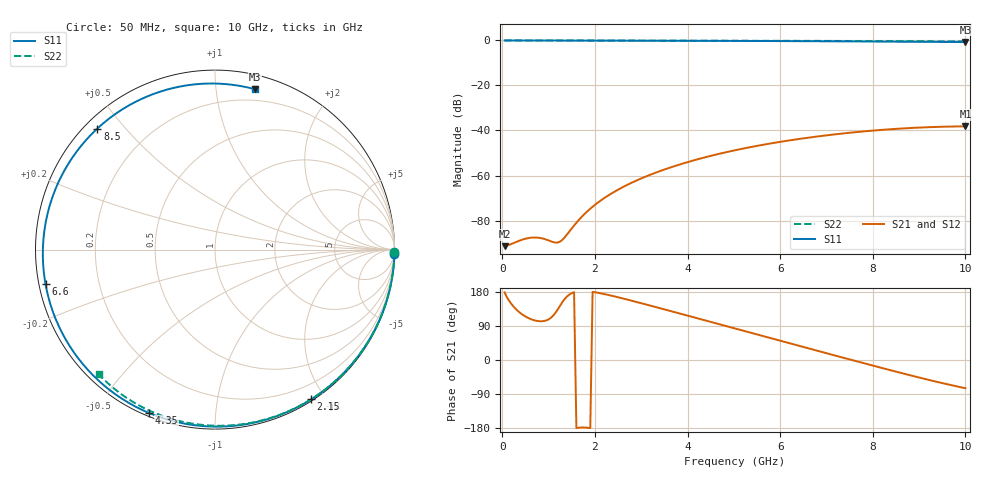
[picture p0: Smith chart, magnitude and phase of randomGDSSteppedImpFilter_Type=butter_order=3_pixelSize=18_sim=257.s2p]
! freq	dB(S11)	phase(S11)	dB(S12)	phase(S12)
!  dB(S21)	phase(S21)	dB(S22)	phase(S22)
!S-par simulation data
#  GHz  S  DB  R 50
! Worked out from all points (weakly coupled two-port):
!   200 points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, 50 MHz to 10 GHz, reference 50 ohm
!   highest |S21| = -38.14 dB at 10 GHz (marker M1); lowest = -91.4 dB at 50 MHz (marker M2)
!   lowest |S11| = -0.7 dB at 10 GHz (marker M3), VSWR 24.27, Z = 5.41 + j63.6 ohm
!   |S11| at or under -10 dB: nowhere
!   |S22| runs from -0.4 to 0.0 dB; largest |S21 - S12| = 0
!   S11 on the Smith chart (normalised r, x): 50 MHz: 0, -84; 2.15 GHz: 0.02, -1.83; 4.35 GHz: 0.01, -0.67; 6.6 GHz: 0.02, -0.10; 8.5 GHz: 0.04, +0.42; 10 GHz: 0.11, +1.27
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0.05  -0.00 -1.4  -91.40 178.5  -91.40 178.5  -0.00 -0.8
0.8  -0.02 -21.7  -87.69 102.4  -87.69 102.4  -0.01 -12.2
1.6  -0.05 -43.0  -80.97 -179.5  -80.97 -179.5  -0.03 -24.3
1.65  -0.06 -44.3  -79.80 -178.6  -79.80 -178.6  -0.03 -25.1
1.75  -0.06 -46.9  -77.62 -178.0  -77.62 -178.0  -0.03 -26.5
2.15  -0.07 -57.3  -70.75 175.4  -70.75 175.4  -0.04 -32.5
2.7  -0.09 -71.3  -64.14 159.4  -64.14 159.4  -0.05 -40.5
3.4  -0.12 -88.8  -58.07 136.9  -58.07 136.9  -0.07 -50.5
4.35  -0.16 -112.0  -52.07 105.5  -52.07 105.5  -0.09 -63.7
5.05  -0.20 -129.1  -48.67 82.2  -48.67 82.2  -0.11 -73.1
5.85  -0.26 -148.9  -45.56 55.7  -45.56 55.7  -0.14 -83.5
6.6  -0.32 -168.4  -43.21 31.0  -43.21 31.0  -0.18 -92.9
6.7  -0.33 -171.1  -42.94 27.7  -42.94 27.7  -0.18 -94.1
7.15  -0.38 176.4  -41.79 12.9  -41.79 12.9  -0.21 -99.6
7.55  -0.42 164.8  -40.90 -0.1  -40.90 -0.1  -0.23 -104.5
7.95  -0.47 152.4  -40.13 -13.1  -40.13 -13.1  -0.26 -109.2
8.35  -0.51 139.3  -39.49 -25.9  -39.49 -25.9  -0.29 -113.9
8.5  -0.53 134.2  -39.28 -30.7  -39.28 -30.7  -0.30 -115.7
8.9  -0.58 119.9  -38.80 -43.2  -38.80 -43.2  -0.34 -120.3
9.3  -0.63 104.7  -38.46 -55.2  -38.46 -55.2  -0.37 -125.0
9.65  -0.67 90.7  -38.26 -65.2  -38.26 -65.2  -0.41 -129.0
10  -0.72 76.1  -38.14 -74.4  -38.14 -74.4  -0.45 -133.0
